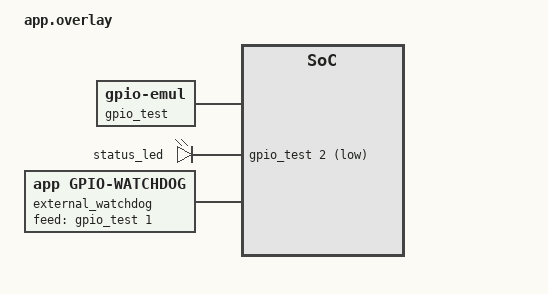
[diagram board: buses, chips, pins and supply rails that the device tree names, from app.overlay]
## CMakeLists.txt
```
cmake_minimum_required(VERSION 3.20.0)
get_filename_component(IDU_APP ${CMAKE_CURRENT_SOURCE_DIR}/../.. ABSOLUTE)
include(${IDU_APP}/modules/modules.cmake)
find_package(Zephyr REQUIRED HINTS $ENV{ZEPHYR_BASE})
project(idu_runtime_tests)
target_include_directories(app PRIVATE ${IDU_APP}/app)
target_sources(app PRIVATE src/main.c ${IDU_APP}/app/main.c
  ${IDU_APP}/app/protocol/init.c
  ${IDU_APP}/app/protocol/tasks.c ${IDU_APP}/app/protocol/ports.c)
set_source_files_properties(${IDU_APP}/app/main.c PROPERTIES COMPILE_DEFINITIONS "main=application_main")
add_subdirectory(${IDU_APP}/app/status status)
add_subdirectory(${IDU_APP}/app/protocol app_cfg)
add_subdirectory(${IDU_APP}/app/process point_process)
zephyr_ld_options(-Wl,--wrap=sys_reboot -Wl,--wrap=flash_area_open)
```

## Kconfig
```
mainmenu "Product runtime fault tests"
config MODBUS_BUFFER_SIZE
    range 64 1100
source "Kconfig.zephyr"
rsource "../../app/Kconfig"
```

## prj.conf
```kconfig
CONFIG_ZTEST=y
CONFIG_MODBUS=y
CONFIG_MODBUS_BUFFER_SIZE=1100
CONFIG_MODBUS_ROLE_CLIENT_SERVER=y
CONFIG_MODBUS_FP_EXTENSIONS=n
CONFIG_MODBUS_RAW_ADU=y
CONFIG_DATAPROCESS=y
CONFIG_DP_PARAMS=y
CONFIG_ZBUS_PREFER_DYNAMIC_ALLOCATION=n
CONFIG_ZBUS_MSG_SUBSCRIBER_BUF_ALLOC_STATIC=y
CONFIG_ZBUS_MSG_SUBSCRIBER_NET_BUF_POOL_SIZE=2
CONFIG_ZBUS_MSG_SUBSCRIBER_NET_BUF_STATIC_DATA_SIZE=640
CONFIG_MAIN_STACK_SIZE=4096
CONFIG_TEST_EXTRA_STACK_SIZE=4096
CONFIG_SYSTEM_WORKQUEUE_STACK_SIZE=2048
CONFIG_NATIVE_SIM_SLOWDOWN_TO_REAL_TIME=n
CONFIG_FLASH=y
CONFIG_FLASH_MAP=y
CONFIG_FLASH_PAGE_LAYOUT=y
CONFIG_FLASH_SIMULATOR_CALLBACKS=y
CONFIG_GPIO=y
CONFIG_SERIAL=y
CONFIG_EMUL=y
CONFIG_UART_EMUL=y
CONFIG_UART_INTERRUPT_DRIVEN=y
CONFIG_UART_USE_RUNTIME_CONFIGURE=y
CONFIG_MODBUS_NONCOMPLIANT_SERIAL_MODE=y
CONFIG_CO_MODBUS_ADAPTER=y
CONFIG_CO_MODBUS_RAW_PORT=y
CONFIG_TR_MODBUS_ADAPTER=y
CONFIG_TR_MODBUS_RAW_PORT=y
CONFIG_MODBUS_NUMOF_RAW_ADU=2
CONFIG_VPORT_MAX_PORTS=2
CONFIG_CO_MAX_BUSES=1
CONFIG_TR_PORTS=1
CONFIG_WATCHDOG_EXTERNAL=y
CONFIG_REBOOT=y
CONFIG_GPIO_EMUL=n
CONFIG_LOG_MODE_DEFERRED=y
# 原生测试退出前立即输出 Ztest/复位验收标记，不经延后日志捕获。
CONFIG_LOG_PRINTK=n
```

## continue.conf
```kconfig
CONFIG_APP_FAULT_LED_ACTION=0
```

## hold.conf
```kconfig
CONFIG_APP_FAULT_INPUT_INIT_ACTION=1
CONFIG_APP_FAULT_PROTOCOL_INIT_ACTION=1
CONFIG_APP_FAULT_SAMPLE_ACTION=1
CONFIG_APP_FAULT_PUBLISH_ACTION=1
CONFIG_APP_FAULT_PROTOCOL_ACTION=1
CONFIG_APP_FAULT_LED_ACTION=1
CONFIG_APP_FAULT_TASK_TIMEOUT_ACTION=1
```

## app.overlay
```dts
#include <zephyr/dt-bindings/gpio/gpio.h>
/ {
    gpio_test: gpio-test {
        compatible = "zephyr,gpio-emul";
        gpio-controller;
        #gpio-cells = <2>;
        ngpios = <4>;
        status = "okay";
    };
    uart_test: uart-test {
        compatible = "zephyr,uart-emul";
        current-speed = <115200>;
        rx-fifo-size = <2048>;
        tx-fifo-size = <512>;
        status = "okay";
        modbus_test: modbus {
            compatible = "zephyr,modbus-serial";
            de-gpios = <&gpio_test 0 GPIO_ACTIVE_HIGH>;
            status = "okay";
        };
    };
};
/ { aliases { idu-forward = &modbus_test; idu-settings = &storage_partition; }; };
/ {
    aliases { led0 = &status_led; };
    status_leds: status-leds {
        compatible = "gpio-leds";
        status_led: run { gpios = <&gpio_test 2 GPIO_ACTIVE_LOW>; };
    };
    idu_io: zephyr,user {
    };
};

/ {
    external_watchdog: external-watchdog {
        compatible = "app,gpio-watchdog";
        feed-gpios = <&gpio_test 1 GPIO_ACTIVE_HIGH>;
        feed-interval-ms = <20>;
        status = "okay";
    };
};
```

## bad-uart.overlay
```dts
&uart_test { current-speed = <0>; };
```

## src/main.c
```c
#include <watchdog/watchdog.h>
#include "acquisition/acquisition.h"
#include "protocol/inc/protocol.h"
#include "protocol/inc/signal_ids.h"
#include "status/inc/status.h"
#include <dataprocess/points.h>
#include <dataprocess/params.h>
#include <collect/collect.h>
#include <zephyr/drivers/gpio.h>
#include <zephyr/storage/flash_map.h>
#include <zephyr/drivers/serial/uart_emul.h>
#include <zephyr/modbus/modbus.h>
#include <zephyr/sys/reboot.h>
#include <zephyr/ztest.h>
#include <stdlib.h>
#include <string.h>
#include "nsi_cpu_es_if.h"

int application_main(void);
static const char *scenario;
static const char *expected_description;
static atomic_t samples, led_edges;
static bool indicator_on;
static struct k_thread application_thread;
static struct watchdog_task monitored;
int __real_flash_area_open(uint8_t id, const struct flash_area **area);
int __wrap_flash_area_open(uint8_t id, const struct flash_area **area)
{
    if (scenario && !strcmp(scenario, "storage-degraded") &&
        id == DT_FIXED_PARTITION_ID(DT_ALIAS(idu_settings))) { return -EIO; }
    return __real_flash_area_open(id, area);
}
static atomic_t transmitted_bytes;
static void discard_transmitted(const struct device *device, size_t size, void *user)
{
    ARG_UNUSED(user);
    atomic_add(&transmitted_bytes, size);
    uint8_t bytes[64];
    while (uart_emul_get_tx_data(device, bytes, sizeof(bytes)) > 0) {}
}
K_THREAD_STACK_DEFINE(application_stack, 4096);
DEVICE_DT_DEFINE(DT_NODELABEL(modbus_test), NULL, NULL, NULL, NULL, POST_KERNEL, 90, NULL);

int acquisition_inputs_init(void) { return !strcmp(scenario, "input-init") ? -EIO : 0; }
int acquisition_cycle(void)
{
    atomic_inc(&samples);
    if (!strcmp(scenario, "sample")) { return -EIO; }
    if (!strcmp(scenario, "publish")) { return -ENOMEM; }
    uint16_t value = 0x1234;
    return dp_set_sig_value(DEVICE_LOCAL, SIGNAL_DI, sizeof(value), (uint8_t *)&value);
}
static struct gpio_driver_data gpio_data;
static const struct gpio_driver_config gpio_config = {.port_pin_mask = BIT_MASK(4)};
static gpio_port_value_t gpio_levels;
static unsigned indicator_writes;

static void record_levels(gpio_port_pins_t mask, gpio_port_value_t value)
{
    gpio_levels = (gpio_levels & ~mask) | (value & mask);
    if (mask & BIT(2)) {
        bool on = !!((gpio_levels ^ gpio_data.invert) & BIT(2));
        if (on != indicator_on) { atomic_inc(&led_edges); }
        indicator_on = on;
    }
}

static int configure(const struct device *dev, gpio_pin_t pin, gpio_flags_t flags)
{
    ARG_UNUSED(dev);
    if (pin == 2 && scenario && !strcmp(scenario, "led-init")) { return -EIO; }
    record_levels(BIT(pin), (flags & GPIO_OUTPUT_INIT_HIGH) ? BIT(pin) : 0);
    return 0;
}

static int set(const struct device *dev, gpio_port_pins_t mask, gpio_port_value_t value)
{
    ARG_UNUSED(dev);
    if (mask & BIT(2)) {
        ++indicator_writes;
        if (atomic_get(&samples) && !strcmp(scenario, "led")) { return -EIO; }
    }
    record_levels(mask, value);
    return 0;
}
static int set_bits(const struct device *dev, gpio_port_pins_t pins)
{ return set(dev, pins, pins); }
static int clear_bits(const struct device *dev, gpio_port_pins_t pins)
{ return set(dev, pins, 0); }
static int toggle(const struct device *dev, gpio_port_pins_t pins)
{ return set(dev, pins, gpio_levels ^ pins); }
static int get(const struct device *dev, gpio_port_value_t *value)
{ ARG_UNUSED(dev); *value = gpio_levels; return 0; }
static DEVICE_API(gpio, gpio_api) = {
    .pin_configure = configure, .port_set_masked_raw = set,
    .port_set_bits_raw = set_bits, .port_clear_bits_raw = clear_bits,
    .port_toggle_bits = toggle, .port_get_raw = get,
};
DEVICE_DT_DEFINE(DT_NODELABEL(gpio_test), NULL, NULL, &gpio_data, &gpio_config,
                 POST_KERNEL, CONFIG_KERNEL_INIT_PRIORITY_DEVICE, &gpio_api);

static bool terminal_result(watchdog_action_t action)
{
    struct watchdog_fault fault;
    struct dp_point_state point;
    return !watchdog_fault_get(&fault) && fault.description && !strcmp(fault.description, expected_description) &&
        fault.error < 0 && (fault.reason != WATCHDOG_FAULT_REPORTED || fault.action == action) &&
        dp_stopped() &&
        dp_read((struct dp_key){DEVICE_LOCAL, SIGNAL_DI}, &point) == -ECANCELED;
}
FUNC_NORETURN void __wrap_sys_reboot(int type)
{
    bool ok = type == SYS_REBOOT_COLD && terminal_result(WATCHDOG_ACTION_RESET);
    if (!strcmp(scenario, "led-init")) {
        ok = ok && atomic_get(&samples) == 0 && indicator_writes == 0;
    }
    printk("RUNTIME_RESET_%s\n", ok ? "PASS" : "FAIL");
    nsi_exit(ok ? 0 : 1);
    CODE_UNREACHABLE;
}
static void run_application(void *a, void *b, void *c)
{
    ARG_UNUSED(a); ARG_UNUSED(b); ARG_UNUSED(c);
    (void)application_main();
}
ZTEST(runtime, test_real_main_fault_policy)
{
    scenario = getenv("IDU_RUNTIME_CASE");
    if (!scenario) { scenario = "publish"; }
    if (!strcmp(scenario, "publish")) { expected_description = "Input point update failed"; }
    else if (!strcmp(scenario, "sample")) { expected_description = "Input point update failed"; }
    else if (!strcmp(scenario, "led")) { expected_description = "Indicator output failed"; }
    else if (!strcmp(scenario, "led-init")) { expected_description = "Indicator initialization failed"; }
    else if (!strcmp(scenario, "input-init")) { expected_description = "Input initialization failed"; }
    else if (!strcmp(scenario, "protocol-init")) { expected_description = "Protocol initialization failed"; }
    else if (!strcmp(scenario, "maintenance")) { expected_description = "Protocol maintenance failed"; }
    else if (!strcmp(scenario, "task-timeout")) { expected_description = "Task heartbeat timed out"; }
    else if (!strcmp(scenario, "hold")) { expected_description = "Explicit hold test"; }
    else if (!strcmp(scenario, "force-reset")) { expected_description = "Explicit reset test"; }
    else if (!strcmp(scenario, "storage-degraded")) { expected_description = NULL; }
    else { zassert_unreachable("Unknown scenario"); }
    /* 即使远端断开，UART 仍会在物理线上发送字节。 */
    uart_emul_callback_tx_data_ready_set(DEVICE_DT_GET(DT_NODELABEL(uart_test)),
                                        discard_transmitted, NULL);
    k_thread_create(&application_thread, application_stack, K_THREAD_STACK_SIZEOF(application_stack),
                     run_application, NULL, NULL, NULL, 10, 0, K_NO_WAIT);
    /* 启动流程可包含产品设置的延时；等待运行或终止状态后再注入故障。 */
    for (int i = 0; i < 6000; ++i) {
        status_phase_t phase = status_phase_get();
        if (phase == STATUS_RUN || phase == STATUS_FAULT_LOCKED) { break; }
        k_msleep(10);
    }
    bool maintenance_injected = false;
    struct watchdog_fault fault;
    if (!expected_description) {
        k_msleep(1800);
        zassert_true(atomic_get(&samples) >= 3);
        zassert_false(dp_stopped());
        zassert_equal(watchdog_fault_get(&fault), -ENOENT);
        struct dp_param_status storage;
        dp_params_get_status(&storage);
        zassert_true(storage.storage_error < 0);
        struct co_device_status remote;
        zassert_ok(co_device_status(DEVICE_REMOTE_IO, &remote));
        zassert_equal(remote.state, CO_DEVICE_OFFLINE);
        printk("RUNTIME_POLICY_PASS\n");
        return;
    }
    for (int i = 0; i < 300; ++i) {
        if (!strcmp(scenario, "hold") && atomic_get(&samples)) {
            (void)watchdog_report_fault(-EIO, "Explicit hold test", WATCHDOG_ACTION_HOLD, 0);
        }
        if (!strcmp(scenario, "force-reset") && atomic_get(&samples)) {
            (void)watchdog_report_fault(-EIO, "Explicit reset test", WATCHDOG_ACTION_RESET, 200);
        }
        if (!strcmp(scenario, "maintenance") && atomic_get(&samples) && !maintenance_injected) {
            zassert_ok(modbus_disable(modbus_iface_get_by_name("RAW_1")));
            maintenance_injected = true;
        }
        if (!strcmp(scenario, "task-timeout") && atomic_get(&samples) && !maintenance_injected) {
            const struct watchdog_task_config config = {.name = "test-task", .timeout_ms = 50};
            zassert_ok(watchdog_task_register(&monitored, &config));
            maintenance_injected = true;
        }
        if (!watchdog_fault_get(&fault)) { break; }
        k_msleep(10);
    }
    zassert_ok(watchdog_fault_get(&fault));
    if (status_phase_get() != STATUS_FAULT_LOCKED) {
        zassert_str_equal(expected_description, "Indicator output failed");
        zassert_str_equal(fault.description, expected_description);
        zassert_false(dp_stopped());
        int before = atomic_get(&samples);
        k_msleep(1100);
        zassert_true(atomic_get(&samples) > before);

        struct dp_point_state point;
        zassert_ok(dp_read((struct dp_key){DEVICE_LOCAL, SIGNAL_DI}, &point));
        zassert_equal(point.quality, DP_QUALITY_GOOD);
    } else {
        if (fault.reason != WATCHDOG_FAULT_REPORTED || fault.action == WATCHDOG_ACTION_RESET) {
            k_msleep(500);
            zassert_unreachable("Delayed RESET did not reach the reboot hook");
        }
        zassert_true(terminal_result(WATCHDOG_ACTION_HOLD));
        k_msleep(150); /* 等待当前操作到达可取消的安全位置。 */
        int before = atomic_get(&samples);
        int sent = atomic_get(&transmitted_bytes);
        const struct device *gpio = DEVICE_DT_GET(DT_NODELABEL(gpio_test));
        int previous = gpio_pin_get_raw(gpio, 1), edges = 0;
        for (int i = 0; i < 60; ++i) {
            k_msleep(10);
            int value = gpio_pin_get_raw(gpio, 1);
            edges += value != previous; previous = value;
        }
        int indicator_before = atomic_get(&led_edges);
        k_msleep(5200); /* 覆盖主线程至少两次定期诊断输出。 */
        zassert_equal(k_thread_join(&application_thread, K_NO_WAIT), -EBUSY);
        zassert_equal(atomic_get(&samples), before);
        zassert_equal(atomic_get(&transmitted_bytes), sent);
        zassert_equal(edges > 0, IS_ENABLED(CONFIG_WATCHDOG_EXTERNAL));
        if (strcmp(scenario, "led") && strcmp(scenario, "led-init")) {
            zassert_true(atomic_get(&led_edges) > indicator_before);
        }
    }
    printk("RUNTIME_POLICY_PASS\n");
}
ZTEST_SUITE(runtime, NULL, NULL, NULL, NULL, NULL);
```
